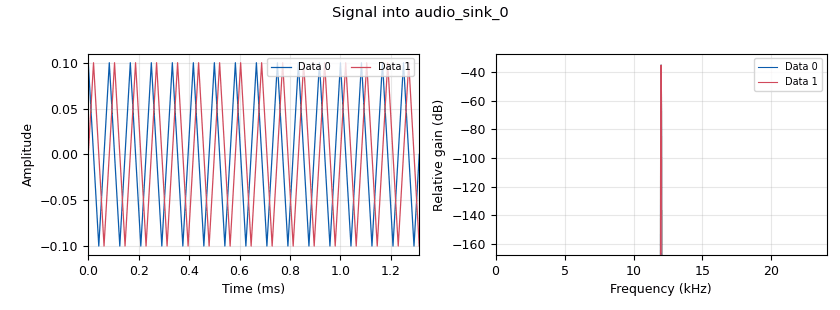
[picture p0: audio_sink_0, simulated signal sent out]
<?xml version='1.0' encoding='utf-8'?>
<?grc format='1' created='3.7.10'?>
<flow_graph>
<block>
<key>options</key>
<param><key>id</key><value>tx1</value></param>
<param><key>generate_options</key><value>qt_gui</value></param>
</block>
<block>
<key>variable_qtgui_range</key>
<param><key>id</key><value>amp</value></param>
<param><key>value</key><value>-10</value></param>
<param><key>orient</key><value>Qt.Horizontal</value></param>
<param><key>start</key><value>-40</value></param>
<param><key>step</key><value>1</value></param>
<param><key>stop</key><value>0</value></param>
</block>
<block>
<key>variable_qtgui_range</key>
<param><key>id</key><value>freq</value></param>
<param><key>value</key><value>samp_rate/4</value></param>
<param><key>orient</key><value>Qt.Horizontal</value></param>
<param><key>start</key><value>1e2</value></param>
<param><key>step</key><value>1</value></param>
<param><key>stop</key><value>samp_rate/2</value></param>
</block>
<block>
<key>variable</key>
<param><key>id</key><value>samp_rate</value></param>
<param><key>value</key><value>48e3</value></param>
</block>
<block>
<key>analog_sig_source_x</key>
<param><key>id</key><value>analog_sig_source_x_0</value></param>
<param><key>amp</key><value>pow(10.0,amp/10.0)</value></param>
<param><key>freq</key><value>freq</value></param>
<param><key>offset</key><value>0</value></param>
<param><key>type</key><value>complex</value></param>
<param><key>samp_rate</key><value>samp_rate</value></param>
<param><key>waveform</key><value>analog.GR_COS_WAVE</value></param>
</block>
<block>
<key>audio_sink</key>
<param><key>id</key><value>audio_sink_0</value></param>
<param><key>num_inputs</key><value>2</value></param>
<param><key>samp_rate</key><value>int(samp_rate)</value></param>
</block>
<block>
<key>blocks_complex_to_float</key>
<param><key>id</key><value>blocks_complex_to_float_0</value></param>
</block>
<connection><source_block_id>analog_sig_source_x_0</source_block_id><sink_block_id>blocks_complex_to_float_0</sink_block_id><source_key>0</source_key><sink_key>0</sink_key></connection>
<connection><source_block_id>blocks_complex_to_float_0</source_block_id><sink_block_id>audio_sink_0</sink_block_id><source_key>1</source_key><sink_key>1</sink_key></connection>
<connection><source_block_id>blocks_complex_to_float_0</source_block_id><sink_block_id>audio_sink_0</sink_block_id><source_key>0</source_key><sink_key>0</sink_key></connection>
</flow_graph>
